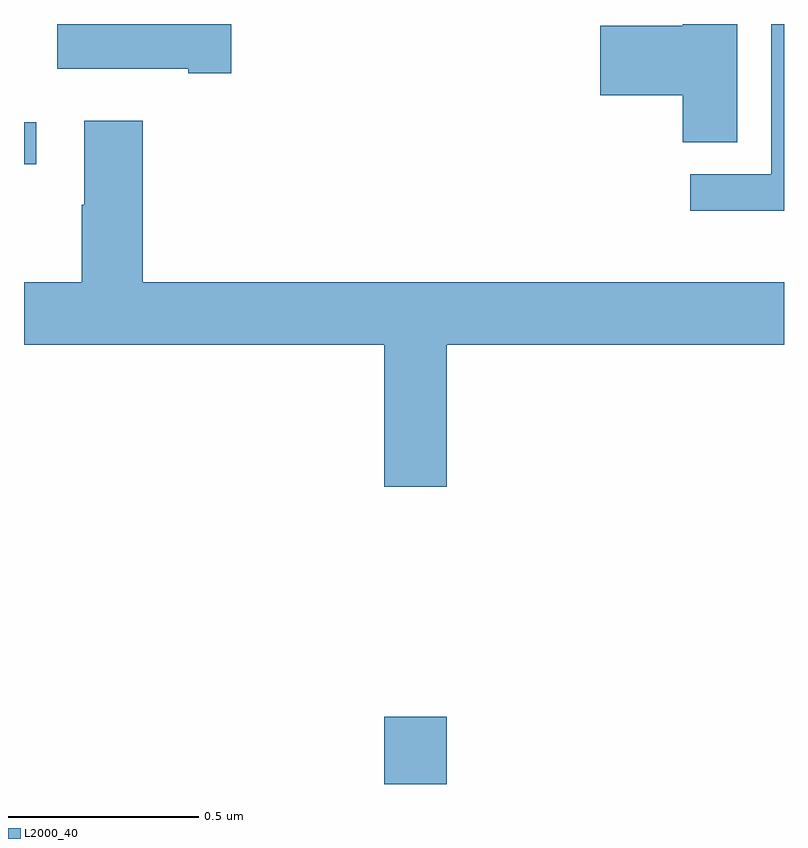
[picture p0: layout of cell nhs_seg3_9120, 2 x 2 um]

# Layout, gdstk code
import gdstk
lib = gdstk.Library(unit=1e-6, precision=1e-09)
def R(c, l, rs):  # rectangles x0, y0, x1, y1
    for r in rs: c.add(gdstk.rectangle(r[:2], r[2:], *l))
def P(c, l, *ps):  # polygons
    for p in ps: c.add(gdstk.Polygon(p, *l))
L2000_40 = (2000, 40)

nhs_seg3_9120 = lib.new_cell('nhs_seg3_9120')
R(nhs_seg3_9120, L2000_40, [(224.948,726.4,225.112,726.577), (224,728.031,224.032,728.141)])
P(nhs_seg3_9120, L2000_40, [(226,728.4),(225.966,728.4),(225.966,728.004),(225.753,728.004),(225.753,727.908),(226,727.908)],
  [(224.545,728.4),(224.087,728.4),(224.087,728.282),(224.432,728.282),(224.432,728.27),(224.545,728.27)],
  [(225.877,728.4),(225.734,728.4),(225.734,728.396),(225.516,728.396),(225.516,728.213),(225.734,728.213),(225.734,728.089),(225.877,728.089)],
  [(225.112,727.556),(226,727.556),(226,727.72),(224.312,727.72),(224.312,728.146),(224.159,728.146),(224.159,727.925),(224.152,727.925),(224.152,727.72),(224,727.72),(224,727.556),(224.948,727.556),(224.948,727.182),(225.112,727.182)])

lib.write_gds('nhs_seg3_9120.gds')
